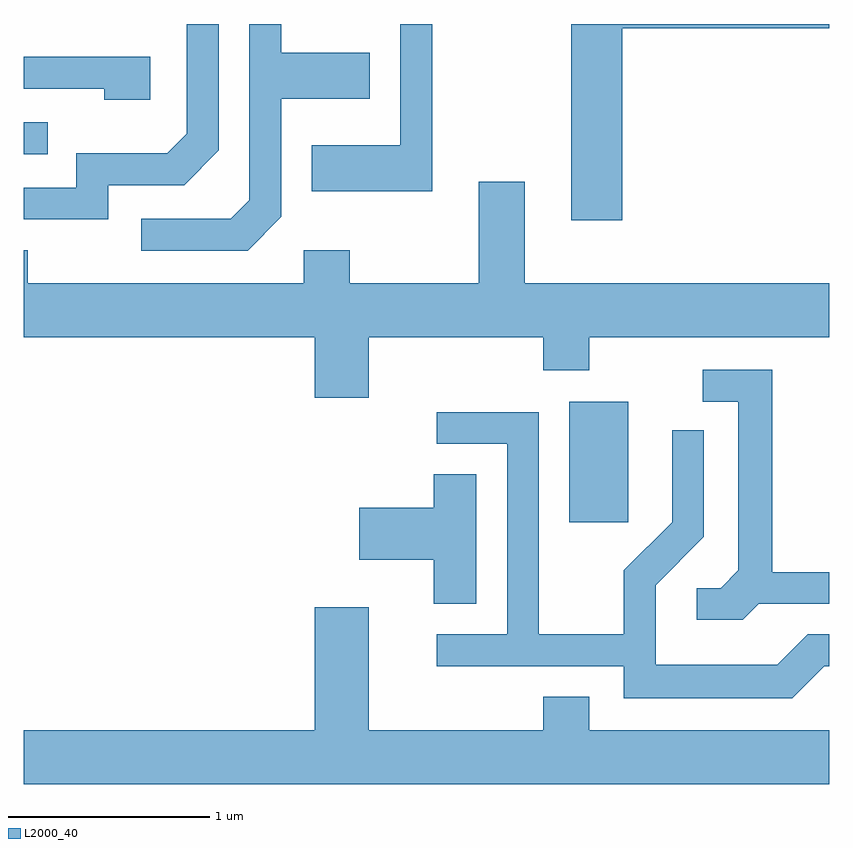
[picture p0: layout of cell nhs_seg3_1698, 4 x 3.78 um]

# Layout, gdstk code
import gdstk
lib = gdstk.Library(unit=1e-6, precision=1e-09)
def R(c, l, rs):  # rectangles x0, y0, x1, y1
    for r in rs: c.add(gdstk.rectangle(r[:2], r[2:], *l))
def P(c, l, *ps):  # polygons
    for p in ps: c.add(gdstk.Polygon(p, *l))
L2000_40 = (2000, 40)

nhs_seg3_1698 = lib.new_cell('nhs_seg3_1698')
R(nhs_seg3_1698, L2000_40, [(236.321,1249.416,236.614,1250.014), (233.611,1251.246,233.728,1251.404)])
P(nhs_seg3_1698, L2000_40, [(234.889,1250.934),(234.889,1251.521),(235.329,1251.521),(235.329,1251.749),(234.889,1251.749),(234.889,1251.892),(234.731,1251.892),(234.731,1251.017),(234.639,1250.924),(234.193,1250.924),(234.193,1250.766),(234.722,1250.766)],
  [(235.639,1251.892),(235.481,1251.892),(235.481,1251.289),(235.041,1251.289),(235.041,1251.061),(235.639,1251.061)],
  [(234.029,1251.091),(234.407,1251.091),(234.579,1251.264),(234.579,1251.892),(234.421,1251.892),(234.421,1251.347),(234.324,1251.249),(233.871,1251.249),(233.871,1251.079),(233.611,1251.079),(233.611,1250.921),(234.029,1250.921)],
  [(236.584,1251.871),(237.611,1251.871),(237.611,1251.892),(236.331,1251.892),(236.331,1250.916),(236.584,1250.916)],
  [(234.239,1251.729),(233.611,1251.729),(233.611,1251.571),(234.011,1251.571),(234.011,1251.516),(234.239,1251.516)],
  [(235.324,1250.336),(236.191,1250.336),(236.191,1250.171),(236.419,1250.171),(236.419,1250.336),(237.611,1250.336),(237.611,1250.604),(236.099,1250.604),(236.099,1251.109),(235.871,1251.109),(235.871,1250.604),(235.229,1250.604),(235.229,1250.769),(235.001,1250.769),(235.001,1250.604),(233.629,1250.604),(233.629,1250.769),(233.611,1250.769),(233.611,1250.336),(235.056,1250.336),(235.056,1250.036),(235.324,1250.036)],
  [(237.262,1249.011),(237.611,1249.011),(237.611,1249.169),(237.329,1249.169),(237.329,1250.174),(236.983,1250.174),(236.983,1250.016),(237.161,1250.016),(237.161,1249.177),(237.074,1249.089),(236.953,1249.089),(236.953,1248.931),(237.182,1248.931)],
  [(237.587,1248.701),(237.611,1248.701),(237.611,1248.859),(237.504,1248.859),(237.354,1248.709),(236.749,1248.709),(236.749,1249.104),(236.989,1249.344),(236.989,1249.873),(236.831,1249.873),(236.831,1249.417),(236.591,1249.177),(236.591,1248.859),(236.169,1248.859),(236.169,1249.964),(235.663,1249.964),(235.663,1249.806),(236.011,1249.806),(236.011,1248.859),(235.663,1248.859),(235.663,1248.701),(236.591,1248.701),(236.591,1248.541),(237.427,1248.541)],
  [(235.859,1249.654),(235.646,1249.654),(235.646,1249.489),(235.276,1249.489),(235.276,1249.231),(235.646,1249.231),(235.646,1249.011),(235.859,1249.011)],
  [(237.611,1248.384),(236.419,1248.384),(236.419,1248.549),(236.191,1248.549),(236.191,1248.384),(235.324,1248.384),(235.324,1248.994),(235.056,1248.994),(235.056,1248.384),(233.611,1248.384),(233.611,1248.116),(237.611,1248.116)])

lib.write_gds('nhs_seg3_1698.gds')
